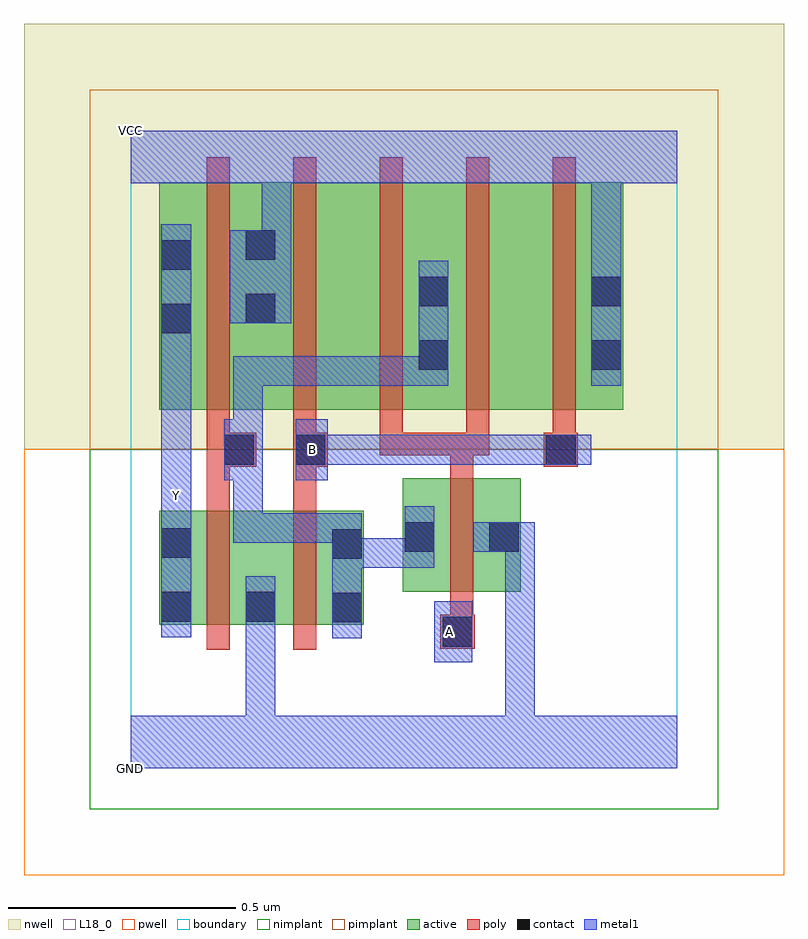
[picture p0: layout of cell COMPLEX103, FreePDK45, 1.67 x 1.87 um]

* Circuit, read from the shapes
.subckt COMPLEX103 A B GND VCC Y
M1 GND n1 Y VSUBS nfet w=0.25u l=0.05u
M2 n1 B GND VSUBS nfet w=0.25u l=0.05u
M3 GND A n1 VSUBS nfet w=0.25u l=0.05u
M4 VCC n1 Y n2 pfet w=0.5u l=0.05u
M5 n3 B VCC n2 pfet w=0.5u l=0.05u
M6 n1 A n3 n2 pfet w=0.5u l=0.05u
M7 n4 A n1 n2 pfet w=0.5u l=0.05u
M8 VCC B n4 n2 pfet w=0.5u l=0.05u
.ends

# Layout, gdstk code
import gdstk
lib = gdstk.Library(unit=1e-6, precision=1e-09)
def R(c, l, rs):  # rectangles x0, y0, x1, y1
    for r in rs: c.add(gdstk.rectangle(r[:2], r[2:], *l))
def A(c, l, x, y, w, h, nx, ny, dx, dy):  # array of equal rectangles
    R(c, l, [(x+i*dx, y+j*dy, x+i*dx+w, y+j*dy+h) for i in range(nx) for j in range(ny)])
active = (1, 0)
pwell = (2, 0)
nwell = (3, 0)
nimplant = (4, 0)
pimplant = (5, 0)
poly = (9, 0)
contact = (10, 0)
metal1 = (11, 0)
L18_0 = (18, 0)
boundary = (235, 0)

complex103 = lib.new_cell('COMPLEX103')
R(complex103, active, [(0.062,0.315,0.137,0.565), (0.062,0.315,0.322,0.565), (0.247,0.315,0.512,0.565), (0.437,0.315,0.512,0.565), (0.247,0.317,0.322,0.497), (0.597,0.387,0.672,0.637), (0.597,0.387,0.857,0.637), (0.782,0.387,0.857,0.637), (0.062,0.787,0.322,1.287), (0.062,0.787,0.137,1.2), (0.247,0.787,0.477,1.287), (0.477,0.787,0.702,1.287), (0.627,0.787,0.857,1.287), (0.857,0.787,1.082,1.287), (1.007,0.787,1.082,1.255), (0.247,0.807,0.322,1.255), (0.627,0.807,0.702,1.2)])
R(complex103, pwell, [(-0.235,-0.235,1.435,0.7)])
R(complex103, nwell, [(-0.235,0.7,1.435,1.635)])
R(complex103, nimplant, [(-0.09,-0.09,1.29,0.7)])
R(complex103, pimplant, [(-0.09,0.7,1.29,1.49)])
A(complex103, poly, 0.167, 0.687, 0.05, 0.095, 5, 1, 0.19, 0)
A(complex103, poly, 0.167, 0.732, 0.05, 0.61, 5, 1, 0.19, 0)
R(complex103, poly, [(0.167,0.26,0.217,0.62), (0.357,0.26,0.407,0.62), (0.68,0.262,0.755,0.337), (0.702,0.287,0.752,0.382), (0.702,0.332,0.752,0.692), (0.167,0.57,0.217,0.712), (0.357,0.57,0.407,0.712), (0.702,0.642,0.752,0.737), (0.167,0.662,0.275,0.737), (0.357,0.662,0.432,0.737), (0.907,0.662,0.982,0.737), (0.547,0.687,0.752,0.737), (0.547,0.687,0.597,0.737), (0.547,0.687,0.597,0.737), (0.547,0.687,0.597,0.737), (0.702,0.687,0.787,0.737)])
R(complex103, contact, [(0.685,0.267,0.75,0.332), (0.442,0.32,0.507,0.385), (0.067,0.322,0.132,0.387), (0.252,0.322,0.317,0.387), (0.442,0.46,0.507,0.525), (0.067,0.462,0.132,0.527), (0.602,0.475,0.667,0.54), (0.787,0.475,0.852,0.54), (0.205,0.667,0.27,0.732), (0.362,0.667,0.427,0.732), (0.912,0.667,0.977,0.732), (0.632,0.875,0.697,0.94), (1.012,0.875,1.077,0.94), (0.067,0.955,0.132,1.02), (0.252,0.977,0.317,1.042), (0.632,1.015,0.697,1.08), (1.012,1.015,1.077,1.08), (0.067,1.095,0.132,1.16), (0.252,1.117,0.317,1.182)])
R(complex103, metal1, [(0,0,1.2,0.115), (0.252,0.05,0.317,0.115), (0.252,0.05,0.317,0.115), (0.252,0.05,0.317,0.352), (0.822,0.05,0.887,0.115), (0.822,0.05,0.887,0.115), (0.822,0.05,0.887,0.54), (0.667,0.232,0.75,0.367), (0.442,0.285,0.507,0.56), (0.067,0.287,0.132,0.562), (0.252,0.287,0.317,0.352), (0.252,0.287,0.317,0.352), (0.252,0.287,0.317,0.352), (0.252,0.287,0.317,0.352), (0.252,0.287,0.317,0.422), (0.442,0.44,0.595,0.505), (0.53,0.44,0.595,0.505), (0.53,0.44,0.667,0.505), (0.602,0.44,0.667,0.575), (0.752,0.475,0.887,0.54), (0.822,0.475,0.887,0.54), (0.822,0.475,0.887,0.54), (0.822,0.475,0.887,0.54), (0.822,0.475,0.887,0.54), (0.225,0.495,0.29,0.56), (0.225,0.495,0.432,0.56), (0.225,0.495,0.29,0.697), (0.367,0.495,0.432,0.56), (0.367,0.495,0.507,0.56), (0.067,0.497,0.132,0.597), (0.067,0.532,0.132,0.667), (0.067,0.602,0.132,0.985), (0.205,0.632,0.27,0.767), (0.205,0.632,0.29,0.697), (0.225,0.632,0.29,0.697), (0.225,0.632,0.29,0.905), (0.362,0.632,0.432,0.767), (0.367,0.667,0.432,0.732), (0.367,0.667,0.432,0.732), (0.367,0.667,0.57,0.732), (0.505,0.667,0.57,0.732), (0.505,0.667,0.667,0.732), (0.602,0.667,0.667,0.732), (0.602,0.667,0.805,0.732), (0.74,0.667,0.942,0.732), (0.74,0.667,0.805,0.732), (0.74,0.667,0.805,0.732), (0.74,0.667,0.805,0.732), (0.877,0.667,1.012,0.732), (0.225,0.84,0.29,0.905), (0.225,0.84,0.432,0.905), (0.367,0.84,0.432,0.905), (0.367,0.84,0.432,0.905), (0.367,0.84,0.432,0.905), (0.367,0.84,0.595,0.905), (0.53,0.84,0.595,0.905), (0.53,0.84,0.697,0.905), (0.632,0.84,0.697,1.115), (1.012,0.84,1.077,1.115), (0.067,0.92,0.132,1.195), (0.217,0.977,0.352,1.182), (1.012,1.05,1.077,1.35), (0.287,1.117,0.352,1.35), (0,1.285,1.2,1.4)])
R(complex103, L18_0, [(0,0,1.2,0.115), (0.252,0.05,0.317,0.115), (0.252,0.05,0.317,0.115), (0.252,0.05,0.317,0.352), (0.822,0.05,0.887,0.115), (0.822,0.05,0.887,0.115), (0.822,0.05,0.887,0.54), (0.667,0.232,0.75,0.367), (0.667,0.267,0.732,0.332), (0.067,0.287,0.132,0.562), (0.252,0.287,0.317,0.422), (0.252,0.287,0.317,0.352), (0.252,0.287,0.317,0.352), (0.252,0.287,0.317,0.352), (0.252,0.287,0.317,0.352), (0.752,0.475,0.887,0.54), (0.822,0.475,0.887,0.54), (0.822,0.475,0.887,0.54), (0.822,0.475,0.887,0.54), (0.822,0.475,0.887,0.54), (0.067,0.497,0.132,0.597), (0.067,0.532,0.132,0.667), (0.067,0.567,0.132,0.632), (0.067,0.602,0.132,0.985), (0.362,0.632,0.432,0.767), (0.367,0.667,0.432,0.732), (0.367,0.667,0.432,0.732), (0.367,0.667,0.432,0.732), (0.367,0.667,0.57,0.732), (0.505,0.667,0.57,0.732), (0.505,0.667,0.667,0.732), (0.602,0.667,0.667,0.732), (0.602,0.667,0.805,0.732), (0.74,0.667,0.805,0.732), (0.74,0.667,0.805,0.732), (0.74,0.667,0.805,0.732), (0.74,0.667,0.942,0.732), (0.877,0.667,1.012,0.732), (1.012,0.84,1.077,1.115), (0.067,0.92,0.132,1.195), (0.217,0.977,0.352,1.182), (1.012,1.05,1.077,1.35), (0.287,1.117,0.352,1.35), (0,1.285,1.2,1.4)])
R(complex103, boundary, [(0,0,1.2,1.4)])
complex103.add(gdstk.Label('A', (0.7,0.3), layer=11, texttype=0))
complex103.add(gdstk.Label('B', (0.4,0.7), layer=11, texttype=0))
complex103.add(gdstk.Label('Y', (0.1,0.6), layer=11, texttype=0))
complex103.add(gdstk.Label('VCC', (0,1.4), layer=11, texttype=0))
complex103.add(gdstk.Label('GND', (0,0), layer=11, texttype=0))

lib.write_gds('COMPLEX103.gds')
